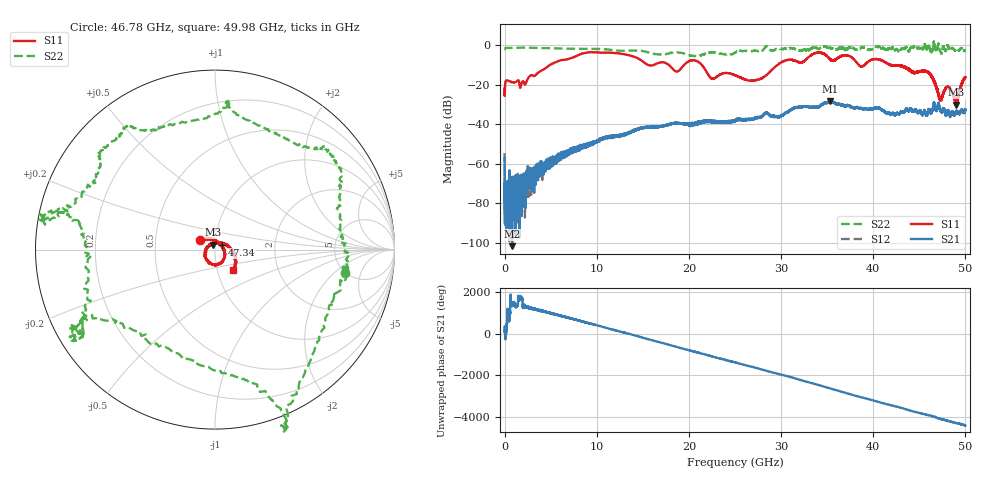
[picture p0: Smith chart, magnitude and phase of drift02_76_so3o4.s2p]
!Created with skrf (http://scikit-rf.org).
# Hz S RI R 50.0
!freq ReS11 ImS11 ReS21 ImS21 ReS12 ImS12 ReS22 ImS22
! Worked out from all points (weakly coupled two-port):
!   10001 points, 300 kHz to 50 GHz, reference 50 ohm
!   highest |S21| = -28.55 dB at 35.32 GHz (marker M1); lowest = -101.8 dB at 820.3 MHz (marker M2)
!   lowest |S11| = -30.2 dB at 49.02 GHz (marker M3), VSWR 1.06, Z = 48.7 + j2.72 ohm
!   |S11| at or under -10 dB: start of sweep to 4.956 GHz; 21.38 GHz to 29.63 GHz (8.247 GHz wide, 32.3 % of centre); 41.87 GHz to end of sweep (the widest 3 of 9)
!   |S22| runs from -5.7 to 2.3 dB; largest |S21 - S12| = 0.0043
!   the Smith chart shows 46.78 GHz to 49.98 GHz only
!   S11 on the Smith chart (normalised r, x): 46.78 GHz: 0.84, +0.09; 47.34 GHz: 1.08, +0.06; 49.98 GHz: 1.19, -0.28
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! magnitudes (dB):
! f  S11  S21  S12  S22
! 300 kHz  -22.0  -57.1  -54.7  -2.1
! 255.3 MHz  -17.9  -78.3  -85.0  -1.4
! 820.3 MHz  -18.8  -101.8  -71.2  -1.5
! 1.875 GHz  -19.0  -67.8  -74.7  -1.3
! 8.335 GHz  -4.5  -51.8  -51.9  -1.9
! 16.67 GHz  -9.1  -41.5  -41.4  -4.7
! 18.7 GHz  -13.4  -39.8  -39.5  -3.7
! 20.6 GHz  -7.7  -39.8  -39.6  -5.7
! 22.52 GHz  -17.1  -39.0  -38.7  -3.7
! 25 GHz  -15.3  -38.4  -38.4  -3.9
! 27.49 GHz  -17.5  -36.6  -36.6  -3.2
! 30.22 GHz  -8.3  -35.4  -35.2  -2.0
! 33.34 GHz  -4.9  -31.3  -31.3  -1.5
! 35.32 GHz  -7.2  -28.5  -28.8  -1.3
! 41.67 GHz  -9.7  -34.3  -34.1  -1.9
! 45.78 GHz  -13.4  -35.8  -35.6  -1.9
! 46.78 GHz  -20.2  -32.9  -33.0  -2.7
! 47.34 GHz  -26.8  -33.3  -33.7  -4.0
! 48.11 GHz  -21.3  -33.7  -33.2  -0.5
! 49.02 GHz  -30.2  -33.6  -33.7  -2.0
! 49.98 GHz  -16.3  -33.1  -32.6  -2.7
! 50 GHz  -16.3  -32.6  -33.2  -2.7
